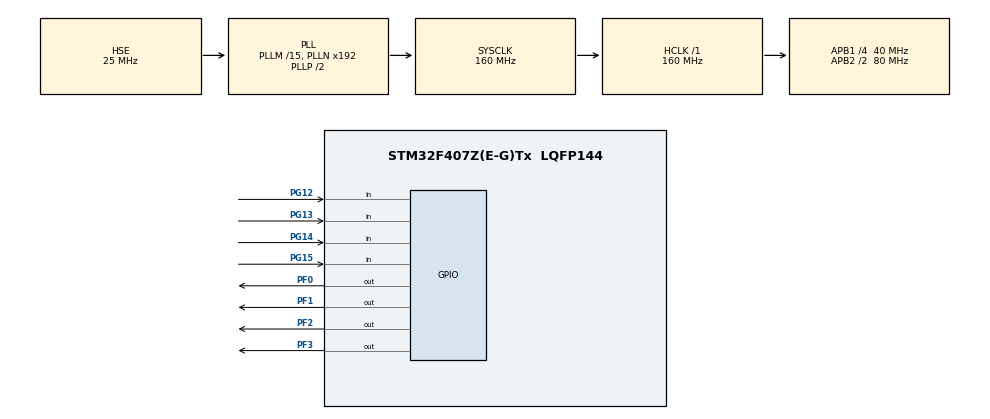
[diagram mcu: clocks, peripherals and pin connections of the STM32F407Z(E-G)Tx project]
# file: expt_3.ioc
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Mcu.Family=STM32F4
Mcu.Name=STM32F407Z(E-G)Tx
Mcu.Package=LQFP144
NVIC.PriorityGroup=NVIC_PRIORITYGROUP_4
PA13.Mode=Serial_Wire
PA13.Signal=SYS_JTMS-SWDIO
PA14.Mode=Serial_Wire
PA14.Signal=SYS_JTCK-SWCLK
PF0.PinState=GPIO_PIN_SET
PF0.Signal=GPIO_Output
PF1.PinState=GPIO_PIN_SET
PF1.Signal=GPIO_Output
PF2.PinState=GPIO_PIN_SET
PF2.Signal=GPIO_Output
PF3.PinState=GPIO_PIN_SET
PF3.Signal=GPIO_Output
PG12.GPIO_PuPd=GPIO_PULLUP
PG12.Signal=GPIO_Input
PG13.GPIO_PuPd=GPIO_PULLUP
PG13.Signal=GPIO_Input
PG14.GPIO_PuPd=GPIO_PULLUP
PG14.Signal=GPIO_Input
PG15.GPIO_PuPd=GPIO_PULLUP
PG15.Signal=GPIO_Input
PH0-OSC_IN.Mode=HSE-External-Oscillator
PH0-OSC_IN.Signal=RCC_OSC_IN
PH1-OSC_OUT.Mode=HSE-External-Oscillator
PH1-OSC_OUT.Signal=RCC_OSC_OUT
ProjectManager.HeapSize=0x200
ProjectManager.StackSize=0x400
ProjectManager.TargetToolchain=MDK-ARM V5.32
RCC.48MHZClocksFreq_Value=80000000
RCC.AHBFreq_Value=160000000
RCC.APB1CLKDivider=RCC_HCLK_DIV4
RCC.APB1Freq_Value=40000000
RCC.APB1TimFreq_Value=80000000
RCC.APB2CLKDivider=RCC_HCLK_DIV2
RCC.APB2Freq_Value=80000000
RCC.APB2TimFreq_Value=160000000
RCC.CortexFreq_Value=160000000
RCC.HCLKFreq_Value=160000000
RCC.HSE_VALUE=25000000
RCC.HSI_VALUE=16000000
RCC.LSE_VALUE=32768
RCC.PLLM=15
RCC.PLLSourceVirtual=RCC_PLLSOURCE_HSE
RCC.SYSCLKFreq_VALUE=160000000
RCC.SYSCLKSource=RCC_SYSCLKSOURCE_PLLCLK
RCC.VCOOutputFreq_Value=320000000
board=custom

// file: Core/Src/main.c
/* USER CODE BEGIN Header */
/**
  ******************************************************************************
  * @file           : main.c
  * @brief          : Main program body
  ******************************************************************************
  * @attention
  *
  * Copyright (c) 2022 STMicroelectronics.
  * All rights reserved.
  *
  * This software is licensed under terms that can be found in the LICENSE file
  * in the root directory of this software component.
  * If no LICENSE file comes with this software, it is provided AS-IS.
  *
  ******************************************************************************
  */
/* USER CODE END Header */
#include "main.h"
#include "gpio.h"

void SystemClock_Config(void);
/* USER CODE BEGIN PFP */
GPIO_PinState KeyStateRead(GPIO_TypeDef* GPIOx, uint16_t GPIO_Pin);
/* USER CODE END PFP */

int main(void)
{

  /* MCU Configuration--------------------------------------------------------*/

  /* Reset of all peripherals, Initializes the Flash interface and the Systick. */
  HAL_Init();

  /* Configure the system clock */
  SystemClock_Config();

  /* Initialize all configured peripherals */
  MX_GPIO_Init();

  /* Infinite loop */
  while (1)
  {

    /* USER CODE BEGIN 3 */
		if(KeyStateRead(GPIOG, GPIO_PIN_12) == GPIO_PIN_RESET)
		{
			HAL_GPIO_WritePin(GPIOF, GPIO_PIN_0, GPIO_PIN_RESET);
			HAL_GPIO_WritePin(GPIOF, GPIO_PIN_1, GPIO_PIN_SET);
			HAL_GPIO_WritePin(GPIOF, GPIO_PIN_2, GPIO_PIN_SET);
			HAL_GPIO_WritePin(GPIOF, GPIO_PIN_3, GPIO_PIN_SET);
		}
		else if(KeyStateRead(GPIOG, GPIO_PIN_13) == GPIO_PIN_RESET)
		{
			HAL_GPIO_WritePin(GPIOF, GPIO_PIN_0, GPIO_PIN_SET);
			HAL_GPIO_WritePin(GPIOF, GPIO_PIN_1, GPIO_PIN_RESET);
			HAL_GPIO_WritePin(GPIOF, GPIO_PIN_2, GPIO_PIN_SET);
			HAL_GPIO_WritePin(GPIOF, GPIO_PIN_3, GPIO_PIN_SET);
		}
		else if(KeyStateRead(GPIOG, GPIO_PIN_14) == GPIO_PIN_RESET)
		{
			HAL_GPIO_WritePin(GPIOF, GPIO_PIN_0, GPIO_PIN_SET);
			HAL_GPIO_WritePin(GPIOF, GPIO_PIN_1, GPIO_PIN_SET);
			HAL_GPIO_WritePin(GPIOF, GPIO_PIN_2, GPIO_PIN_RESET);
			HAL_GPIO_WritePin(GPIOF, GPIO_PIN_3, GPIO_PIN_SET);
		}
		else if(KeyStateRead(GPIOG, GPIO_PIN_15) == GPIO_PIN_RESET)
		{
			HAL_GPIO_WritePin(GPIOF, GPIO_PIN_0, GPIO_PIN_SET);
			HAL_GPIO_WritePin(GPIOF, GPIO_PIN_1, GPIO_PIN_SET);
			HAL_GPIO_WritePin(GPIOF, GPIO_PIN_2, GPIO_PIN_SET);
			HAL_GPIO_WritePin(GPIOF, GPIO_PIN_3, GPIO_PIN_RESET);
		}
		HAL_Delay(1);
  }
  /* USER CODE END 3 */
}

void SystemClock_Config(void)
{
  RCC_OscInitTypeDef RCC_OscInitStruct = {0};
  RCC_ClkInitTypeDef RCC_ClkInitStruct = {0};

  /** Configure the main internal regulator output voltage
  */
  __HAL_RCC_PWR_CLK_ENABLE();
  __HAL_PWR_VOLTAGESCALING_CONFIG(PWR_REGULATOR_VOLTAGE_SCALE1);

  /** Initializes the RCC Oscillators according to the specified parameters
  * in the RCC_OscInitTypeDef structure.
  */
  RCC_OscInitStruct.OscillatorType = RCC_OSCILLATORTYPE_HSE;
  RCC_OscInitStruct.HSEState = RCC_HSE_ON;
  RCC_OscInitStruct.PLL.PLLState = RCC_PLL_ON;
  RCC_OscInitStruct.PLL.PLLSource = RCC_PLLSOURCE_HSE;
  RCC_OscInitStruct.PLL.PLLM = 15;
  RCC_OscInitStruct.PLL.PLLN = 192;
  RCC_OscInitStruct.PLL.PLLP = RCC_PLLP_DIV2;
  RCC_OscInitStruct.PLL.PLLQ = 4;
  if (HAL_RCC_OscConfig(&RCC_OscInitStruct) != HAL_OK)
  {
    Error_Handler();
  }

  /** Initializes the CPU, AHB and APB buses clocks
  */
  RCC_ClkInitStruct.ClockType = RCC_CLOCKTYPE_HCLK|RCC_CLOCKTYPE_SYSCLK
                              |RCC_CLOCKTYPE_PCLK1|RCC_CLOCKTYPE_PCLK2;
  RCC_ClkInitStruct.SYSCLKSource = RCC_SYSCLKSOURCE_PLLCLK;
  RCC_ClkInitStruct.AHBCLKDivider = RCC_SYSCLK_DIV1;
  RCC_ClkInitStruct.APB1CLKDivider = RCC_HCLK_DIV4;
  RCC_ClkInitStruct.APB2CLKDivider = RCC_HCLK_DIV2;

  if (HAL_RCC_ClockConfig(&RCC_ClkInitStruct, FLASH_LATENCY_5) != HAL_OK)
  {
    Error_Handler();
  }
}

/* USER CODE BEGIN 4 */
GPIO_PinState KeyStateRead(GPIO_TypeDef* GPIOx, uint16_t GPIO_Pin)
{
	if(HAL_GPIO_ReadPin(GPIOx, GPIO_Pin) == GPIO_PIN_RESET)
	{
		HAL_Delay(10);
		if(HAL_GPIO_ReadPin(GPIOx, GPIO_Pin) == GPIO_PIN_RESET)
		{
			return GPIO_PIN_RESET;
		}
		else
		{
			return GPIO_PIN_SET;
		}
	}
	return GPIO_PIN_SET;
}
/* USER CODE END 4 */

void Error_Handler(void)
{
  __disable_irq();
  while (1)
  {
  }
}
